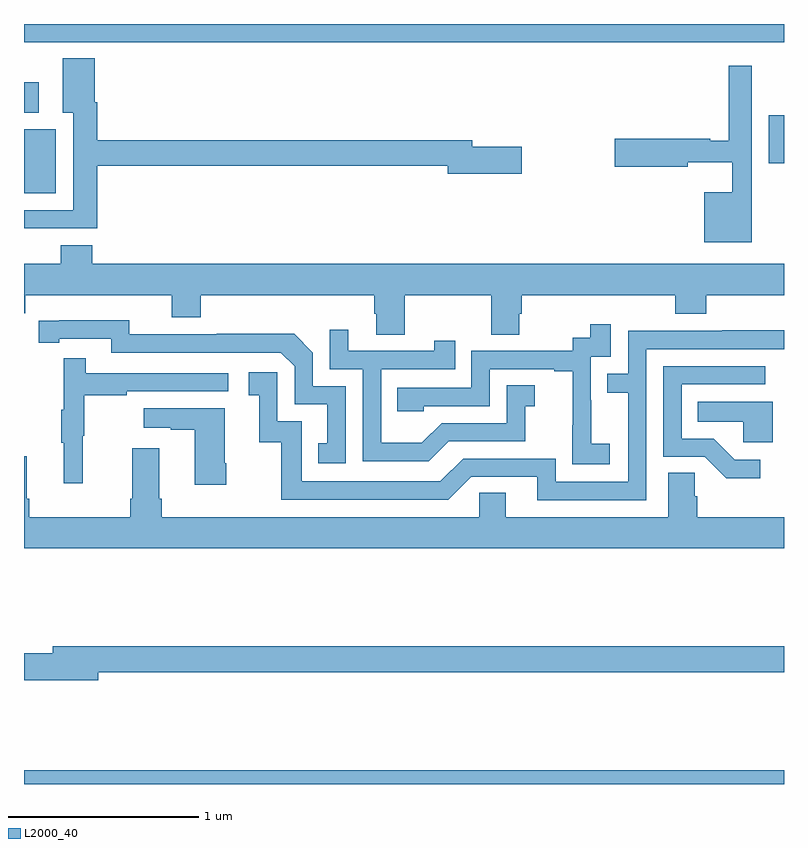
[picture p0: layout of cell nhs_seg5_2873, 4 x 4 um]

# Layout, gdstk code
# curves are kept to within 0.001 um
import gdstk
lib = gdstk.Library(unit=1e-6, precision=1e-09)
def R(c, l, rs):  # rectangles x0, y0, x1, y1
    for r in rs: c.add(gdstk.rectangle(r[:2], r[2:], *l))
def P(c, l, *ps):  # polygons
    for p in ps: c.add(gdstk.Polygon(p, *l))
L2000_40 = (2000, 40)

nhs_seg5_2873 = lib.new_cell('nhs_seg5_2873')
R(nhs_seg5_2873, L2000_40, [(277,908.799,281,908.872), (277,911.909,277.168,912.244), (280.919,912.065,281,912.319), (277,912.333,277.078,912.493), (277,912.704,281,912.799)])
P(nhs_seg5_2873, L2000_40, [(277.385,912.052),(279.23,912.052),(279.23,912.01),(279.619,912.01),(279.619,912.152),(279.358,912.152),(279.358,912.188),(277.385,912.188),(277.385,912.386),(277.372,912.386),(277.372,912.619),(277.205,912.619),(277.205,912.332),(277.259,912.332),(277.259,911.82),(277,911.82),(277,911.723),(277.385,911.723)],
  [(280.831,912.58),(280.71,912.58),(280.71,912.184),(280.613,912.184),(280.613,912.194),(280.11,912.194),(280.11,912.047),(280.494,912.047),(280.494,912.071),(280.727,912.071),(280.727,911.914),(280.58,911.914),(280.58,911.651),(280.831,911.651)],
  [(279.003,911.372),(279.46,911.372),(279.46,911.164),(279.607,911.164),(279.607,911.274),(279.62,911.274),(279.62,911.372),(280.427,911.372),(280.427,911.273),(280.592,911.273),(280.592,911.372),(281,911.372),(281,911.536),(277.358,911.536),(277.358,911.635),(277.193,911.635),(277.193,911.536),(277,911.536),(277,911.276),(277.007,911.276),(277.007,911.372),(277.778,911.372),(277.778,911.255),(277.931,911.255),(277.931,911.372),(278.843,911.372),(278.843,911.274),(278.855,911.274),(278.855,911.164),(279.003,911.164)],
  [(278.694,910.893),(278.52,910.893),(278.52,911.07),(278.422,911.168),(278.014,911.168),(278.014,911.166),(277.554,911.166),(277.554,911.239),(277.078,911.238),(277.078,911.122),(277.186,911.122),(277.186,911.142),(277.458,911.142),(277.458,911.07),(278.352,911.07),(278.424,910.998),(278.424,910.797),(278.597,910.797),(278.597,910.593),(278.548,910.593),(278.548,910.488),(278.694,910.488)],
  [(280.084,910.591),(279.986,910.591),(279.986,910.82),(279.984,910.82),(279.984,911.049),(280.089,911.049),(280.089,911.218),(279.981,911.218),(279.981,911.148),(279.888,911.148),(279.888,911.079),(279.354,911.079),(279.354,910.884),(278.965,910.884),(278.965,910.761),(279.105,910.761),(279.105,910.788),(279.45,910.788),(279.45,910.983),(279.791,910.983),(279.791,910.971),(279.887,910.971),(279.887,910.687),(279.886,910.687),(279.886,910.481),(280.084,910.481)],
  [(279.235,910.602),(279.639,910.602),(279.639,910.787),(279.688,910.787),(279.688,910.897),(279.54,910.897),(279.54,910.698),(279.198,910.698),(279.094,910.594),(278.88,910.594),(278.88,910.983),(279.269,910.983),(279.269,911.131),(279.158,911.131),(279.158,911.079),(278.707,911.079),(278.707,911.191),(278.61,911.191),(278.61,910.983),(278.784,910.983),(278.784,910.497),(279.13,910.497)],
  [(280.275,911.088),(281,911.088),(281,911.186),(280.675,911.186),(280.675,911.184),(280.179,911.184),(280.179,910.959),(280.069,910.959),(280.069,910.858),(280.179,910.858),(280.179,910.389),(279.798,910.389),(279.798,910.512),(279.312,910.512),(279.192,910.392),(278.463,910.392),(278.463,910.707),(278.334,910.707),(278.334,910.966),(278.184,910.966),(278.184,910.845),(278.237,910.845),(278.237,910.599),(278.355,910.599),(278.355,910.296),(279.234,910.296),(279.354,910.416),(279.701,910.416),(279.701,910.293),(280.275,910.293)],
  [(277.31,910.632),(277.318,910.632),(277.318,910.846),(277.541,910.846),(277.541,910.866),(278.074,910.866),(278.074,910.962),(277.325,910.962),(277.325,911.041),(277.208,911.041),(277.208,910.769),(277.197,910.769),(277.197,910.595),(277.208,910.595),(277.208,910.383),(277.31,910.383)],
  [(280.876,910.506),(280.741,910.506),(280.63,910.617),(280.461,910.617),(280.461,910.902),(280.9,910.902),(280.9,910.998),(280.365,910.998),(280.365,910.521),(280.584,910.521),(280.697,910.409),(280.876,910.409)],
  [(280.942,910.81),(280.546,910.81),(280.546,910.706),(280.785,910.706),(280.785,910.598),(280.942,910.598)],
  [(278.064,910.486),(278.056,910.486),(278.056,910.777),(277.629,910.777),(277.629,910.673),(277.772,910.673),(277.772,910.663),(277.898,910.663),(277.898,910.374),(278.064,910.374)],
  [(281,910.204),(280.544,910.204),(280.544,910.313),(280.53,910.313),(280.53,910.436),(280.391,910.436),(280.391,910.204),(279.535,910.204),(279.535,910.331),(279.396,910.331),(279.396,910.204),(277.724,910.204),(277.724,910.3),(277.711,910.3),(277.711,910.567),(277.571,910.567),(277.571,910.3),(277.559,910.3),(277.559,910.204),(277.028,910.204),(277.028,910.3),(277.015,910.3),(277.015,910.525),(277,910.525),(277,910.04),(281,910.04)],
  [(277.39,909.388),(281,909.388),(281,909.524),(277.151,909.524),(277.151,909.488),(277.002,909.488),(277.002,909.346),(277.39,909.346)])

lib.write_gds('nhs_seg5_2873.gds')
